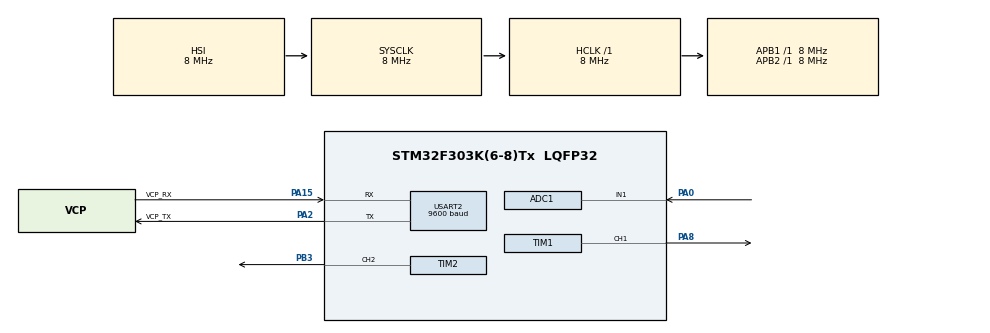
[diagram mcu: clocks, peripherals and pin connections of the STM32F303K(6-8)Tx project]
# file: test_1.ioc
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ADC1.Channel-0\#ChannelRegularConversion=ADC_CHANNEL_1
ADC1.ClockPrescaler=ADC_CLOCK_SYNC_PCLK_DIV1
ADC1.NbrOfConversionFlag=1
ADC1.Offset-0\#ChannelRegularConversion=0
ADC1.OffsetNumber-0\#ChannelRegularConversion=ADC_OFFSET_NONE
ADC1.Rank-0\#ChannelRegularConversion=1
ADC1.SamplingTime-0\#ChannelRegularConversion=ADC_SAMPLETIME_1CYCLE_5
ADC1.SubFamily=STM32F303x8
ADC1.master=1
Mcu.Family=STM32F3
Mcu.Name=STM32F303K(6-8)Tx
Mcu.Package=LQFP32
NVIC.PriorityGroup=NVIC_PRIORITYGROUP_4
PA0.Mode=IN1-Single-Ended
PA0.Signal=ADC1_IN1
PA13.GPIO_Label=SWDIO
PA13.Mode=Serial_Wire
PA13.Signal=SYS_JTMS-SWDIO
PA14.GPIO_Label=SWCLK
PA14.Mode=Serial_Wire
PA14.Signal=SYS_JTCK-SWCLK
PA15.GPIO_Label=VCP_RX
PA15.Mode=Asynchronous
PA15.Signal=USART2_RX
PA2.GPIO_Label=VCP_TX
PA2.Mode=Asynchronous
PA2.Signal=USART2_TX
PA8.Signal=S_TIM1_CH1
PB3.Signal=S_TIM2_CH2
PF0\ /\ OSC_IN.GPIO_Label=MCO
PF0\ /\ OSC_IN.Mode=HSE-External-Clock-Source
PF0\ /\ OSC_IN.Signal=RCC_OSC_IN
ProjectManager.HeapSize=0x200
ProjectManager.StackSize=0x400
ProjectManager.TargetToolchain=SW4STM32
RCC.AHBFreq_Value=8000000
RCC.APB1Freq_Value=8000000
RCC.APB2Freq_Value=8000000
RCC.CortexFreq_Value=8000000
RCC.HSE_VALUE=8000000
RCC.HSI_VALUE=8000000
RCC.SYSCLKFreq_VALUE=8000000
SH.S_TIM1_CH1.0=TIM1_CH1,PWM Generation1 CH1
SH.S_TIM2_CH2.0=TIM2_CH2,PWM Generation2 CH2
TIM1.Channel-PWM\ Generation1\ CH1=TIM_CHANNEL_1
TIM1.Period=255
TIM1.Prescaler=624
TIM2.Channel-PWM\ Generation2\ CH2=TIM_CHANNEL_2
TIM2.Period=255
TIM2.Prescaler=625
USART2.BaudRate=9600
USART2.VirtualMode-Asynchronous=VM_ASYNC
VP_TIM1_VS_ClockSourceINT.Mode=Internal
VP_TIM2_VS_ClockSourceINT.Mode=Internal
board=NUCLEO-F303K8

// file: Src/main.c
/* USER CODE BEGIN Header */
/**
  ******************************************************************************
  * @file           : main.c
  * @brief          : Main program body
  ******************************************************************************
  * @attention
  *
  * <h2><center>&copy; Copyright (c) 2019 STMicroelectronics.
  * All rights reserved.</center></h2>
  *
  * This software component is licensed by ST under BSD 3-Clause license,
  * the "License"; You may not use this file except in compliance with the
  * License. You may obtain a copy of the License at:
  *                        opensource.org/licenses/BSD-3-Clause
  *
  ******************************************************************************
  */
/* USER CODE END Header */

#include "main.h"

ADC_HandleTypeDef hadc1;

TIM_HandleTypeDef htim1;
TIM_HandleTypeDef htim2;

UART_HandleTypeDef huart2;

void SystemClock_Config(void);
static void MX_GPIO_Init(void);
static void MX_USART2_UART_Init(void);
static void MX_TIM2_Init(void);
static void MX_ADC1_Init(void);
static void MX_TIM1_Init(void);

int main(void)
{

  /* MCU Configuration--------------------------------------------------------*/

  /* Reset of all peripherals, Initializes the Flash interface and the Systick. */
  HAL_Init();

  /* Configure the system clock */
  SystemClock_Config();

  /* Initialize all configured peripherals */
  MX_GPIO_Init();
  MX_USART2_UART_Init();
  MX_TIM2_Init();
  MX_ADC1_Init();
  MX_TIM1_Init();
  /* USER CODE BEGIN 2 */
  char txbuf[30]={0};
  uint16_t value=0;

  HAL_TIM_PWM_Start(&htim1,TIM_CHANNEL_1);
  /* USER CODE END 2 */

  /* Infinite loop */
  while (1)
  {

    /* USER CODE BEGIN 3 */

     short duty;
     int sw=1,set=1;
     while(1){
     HAL_ADC_Start(&hadc1);
     if(HAL_ADC_PollForConversion(&hadc1,1000)==HAL_OK){
	   value=HAL_ADC_GetValue(&hadc1);
	  }
	  HAL_ADC_Stop(&hadc1);
	  sprintf(txbuf,"value:%d sw:%d set:%d \r\n",value,sw,set);
	  HAL_UART_Transmit(&huart2,(uint8_t*)txbuf,sizeof(txbuf),0xFFFF);
	  HAL_Delay(10);

	  if(sw==1){
	       duty=27;
	      __HAL_TIM_SET_COMPARE(&htim1,TIM_CHANNEL_1,duty);
	       HAL_Delay(5);

	 	  }
	  if(sw==2){
           duty=30;
	        __HAL_TIM_SET_COMPARE(&htim1,TIM_CHANNEL_1,duty);
	         HAL_Delay(5);

	  }
	  if(sw==3){
		            duty=15;
		 	        __HAL_TIM_SET_COMPARE(&htim1,TIM_CHANNEL_1,duty);
		 	         HAL_Delay(5);

	  }
	  if(value<2000&&set==1){
		  sw++;
		  set++;

	  }
	  if(value>2000&&set==2){
		  set=1;
	  }
	  if(sw>3){
		  sw=1;
	  }
	  }

  }

	/*  for(uint8_t duty=10;duty<30;duty+=20){
		  __HAL_TIM_SET_COMPARE(&htim1,TIM_CHANNEL_1,duty);
		  HAL_Delay(1000);
	  }
	  for(uint8_t duty=30;duty>10;duty-=20){
		  __HAL_TIM_SET_COMPARE(&htim1,TIM_CHANNEL_1,duty);
		  HAL_Delay(1000);
	  }*\

	  /*HAL_ADC_Start(&hadc1);
      if(HAL_ADC_PollForConversion(&hadc1,1000)==HAL_OK){
	   value=HAL_ADC_GetValue(&hadc1);
	  }
	  HAL_ADC_Stop(&hadc1);
	  sprintf(txbuf,"value:%d\r\n",value);
	  HAL_UART_Transmit(&huart2,(uint8_t*)txbuf,sizeof(txbuf),0xFFFF);
	  HAL_Delay(10);

	  if(value>3000){
		  break;

	  }*\

  /* USER CODE END 3 */
}

void SystemClock_Config(void)
{
  RCC_OscInitTypeDef RCC_OscInitStruct = {0};
  RCC_ClkInitTypeDef RCC_ClkInitStruct = {0};
  RCC_PeriphCLKInitTypeDef PeriphClkInit = {0};

  /** Initializes the CPU, AHB and APB busses clocks
  */
  RCC_OscInitStruct.OscillatorType = RCC_OSCILLATORTYPE_HSI;
  RCC_OscInitStruct.HSIState = RCC_HSI_ON;
  RCC_OscInitStruct.HSICalibrationValue = RCC_HSICALIBRATION_DEFAULT;
  RCC_OscInitStruct.PLL.PLLState = RCC_PLL_NONE;
  if (HAL_RCC_OscConfig(&RCC_OscInitStruct) != HAL_OK)
  {
    Error_Handler();
  }
  /** Initializes the CPU, AHB and APB busses clocks
  */
  RCC_ClkInitStruct.ClockType = RCC_CLOCKTYPE_HCLK|RCC_CLOCKTYPE_SYSCLK
                              |RCC_CLOCKTYPE_PCLK1|RCC_CLOCKTYPE_PCLK2;
  RCC_ClkInitStruct.SYSCLKSource = RCC_SYSCLKSOURCE_HSI;
  RCC_ClkInitStruct.AHBCLKDivider = RCC_SYSCLK_DIV1;
  RCC_ClkInitStruct.APB1CLKDivider = RCC_HCLK_DIV1;
  RCC_ClkInitStruct.APB2CLKDivider = RCC_HCLK_DIV1;

  if (HAL_RCC_ClockConfig(&RCC_ClkInitStruct, FLASH_LATENCY_0) != HAL_OK)
  {
    Error_Handler();
  }
  PeriphClkInit.PeriphClockSelection = RCC_PERIPHCLK_TIM1;
  PeriphClkInit.Tim1ClockSelection = RCC_TIM1CLK_HCLK;
  if (HAL_RCCEx_PeriphCLKConfig(&PeriphClkInit) != HAL_OK)
  {
    Error_Handler();
  }
}

static void MX_ADC1_Init(void)
{

  ADC_MultiModeTypeDef multimode = {0};
  ADC_ChannelConfTypeDef sConfig = {0};

  /** Common config
  */
  hadc1.Instance = ADC1;
  hadc1.Init.ClockPrescaler = ADC_CLOCK_SYNC_PCLK_DIV1;
  hadc1.Init.Resolution = ADC_RESOLUTION_12B;
  hadc1.Init.ScanConvMode = ADC_SCAN_DISABLE;
  hadc1.Init.ContinuousConvMode = DISABLE;
  hadc1.Init.DiscontinuousConvMode = DISABLE;
  hadc1.Init.ExternalTrigConvEdge = ADC_EXTERNALTRIGCONVEDGE_NONE;
  hadc1.Init.ExternalTrigConv = ADC_SOFTWARE_START;
  hadc1.Init.DataAlign = ADC_DATAALIGN_RIGHT;
  hadc1.Init.NbrOfConversion = 1;
  hadc1.Init.DMAContinuousRequests = DISABLE;
  hadc1.Init.EOCSelection = ADC_EOC_SINGLE_CONV;
  hadc1.Init.LowPowerAutoWait = DISABLE;
  hadc1.Init.Overrun = ADC_OVR_DATA_OVERWRITTEN;
  if (HAL_ADC_Init(&hadc1) != HAL_OK)
  {
    Error_Handler();
  }
  /** Configure the ADC multi-mode
  */
  multimode.Mode = ADC_MODE_INDEPENDENT;
  if (HAL_ADCEx_MultiModeConfigChannel(&hadc1, &multimode) != HAL_OK)
  {
    Error_Handler();
  }
  /** Configure Regular Channel
  */
  sConfig.Channel = ADC_CHANNEL_1;
  sConfig.Rank = ADC_REGULAR_RANK_1;
  sConfig.SingleDiff = ADC_SINGLE_ENDED;
  sConfig.SamplingTime = ADC_SAMPLETIME_1CYCLE_5;
  sConfig.OffsetNumber = ADC_OFFSET_NONE;
  sConfig.Offset = 0;
  if (HAL_ADC_ConfigChannel(&hadc1, &sConfig) != HAL_OK)
  {
    Error_Handler();
  }

}

static void MX_TIM1_Init(void)
{

  TIM_ClockConfigTypeDef sClockSourceConfig = {0};
  TIM_MasterConfigTypeDef sMasterConfig = {0};
  TIM_OC_InitTypeDef sConfigOC = {0};
  TIM_BreakDeadTimeConfigTypeDef sBreakDeadTimeConfig = {0};

  htim1.Instance = TIM1;
  htim1.Init.Prescaler = 624;
  htim1.Init.CounterMode = TIM_COUNTERMODE_UP;
  htim1.Init.Period = 255;
  htim1.Init.ClockDivision = TIM_CLOCKDIVISION_DIV1;
  htim1.Init.RepetitionCounter = 0;
  htim1.Init.AutoReloadPreload = TIM_AUTORELOAD_PRELOAD_DISABLE;
  if (HAL_TIM_Base_Init(&htim1) != HAL_OK)
  {
    Error_Handler();
  }
  sClockSourceConfig.ClockSource = TIM_CLOCKSOURCE_INTERNAL;
  if (HAL_TIM_ConfigClockSource(&htim1, &sClockSourceConfig) != HAL_OK)
  {
    Error_Handler();
  }
  if (HAL_TIM_PWM_Init(&htim1) != HAL_OK)
  {
    Error_Handler();
  }
  sMasterConfig.MasterOutputTrigger = TIM_TRGO_RESET;
  sMasterConfig.MasterOutputTrigger2 = TIM_TRGO2_RESET;
  sMasterConfig.MasterSlaveMode = TIM_MASTERSLAVEMODE_DISABLE;
  if (HAL_TIMEx_MasterConfigSynchronization(&htim1, &sMasterConfig) != HAL_OK)
  {
    Error_Handler();
  }
  sConfigOC.OCMode = TIM_OCMODE_PWM1;
  sConfigOC.Pulse = 0;
  sConfigOC.OCPolarity = TIM_OCPOLARITY_HIGH;
  sConfigOC.OCNPolarity = TIM_OCNPOLARITY_HIGH;
  sConfigOC.OCFastMode = TIM_OCFAST_DISABLE;
  sConfigOC.OCIdleState = TIM_OCIDLESTATE_RESET;
  sConfigOC.OCNIdleState = TIM_OCNIDLESTATE_RESET;
  if (HAL_TIM_PWM_ConfigChannel(&htim1, &sConfigOC, TIM_CHANNEL_1) != HAL_OK)
  {
    Error_Handler();
  }
  sBreakDeadTimeConfig.OffStateRunMode = TIM_OSSR_DISABLE;
  sBreakDeadTimeConfig.OffStateIDLEMode = TIM_OSSI_DISABLE;
  sBreakDeadTimeConfig.LockLevel = TIM_LOCKLEVEL_OFF;
  sBreakDeadTimeConfig.DeadTime = 0;
  sBreakDeadTimeConfig.BreakState = TIM_BREAK_DISABLE;
  sBreakDeadTimeConfig.BreakPolarity = TIM_BREAKPOLARITY_HIGH;
  sBreakDeadTimeConfig.BreakFilter = 0;
  sBreakDeadTimeConfig.Break2State = TIM_BREAK2_DISABLE;
  sBreakDeadTimeConfig.Break2Polarity = TIM_BREAK2POLARITY_HIGH;
  sBreakDeadTimeConfig.Break2Filter = 0;
  sBreakDeadTimeConfig.AutomaticOutput = TIM_AUTOMATICOUTPUT_DISABLE;
  if (HAL_TIMEx_ConfigBreakDeadTime(&htim1, &sBreakDeadTimeConfig) != HAL_OK)
  {
    Error_Handler();
  }
  HAL_TIM_MspPostInit(&htim1);

}

static void MX_TIM2_Init(void)
{

  TIM_ClockConfigTypeDef sClockSourceConfig = {0};
  TIM_MasterConfigTypeDef sMasterConfig = {0};
  TIM_OC_InitTypeDef sConfigOC = {0};

  htim2.Instance = TIM2;
  htim2.Init.Prescaler = 625;
  htim2.Init.CounterMode = TIM_COUNTERMODE_UP;
  htim2.Init.Period = 255;
  htim2.Init.ClockDivision = TIM_CLOCKDIVISION_DIV1;
  htim2.Init.AutoReloadPreload = TIM_AUTORELOAD_PRELOAD_DISABLE;
  if (HAL_TIM_Base_Init(&htim2) != HAL_OK)
  {
    Error_Handler();
  }
  sClockSourceConfig.ClockSource = TIM_CLOCKSOURCE_INTERNAL;
  if (HAL_TIM_ConfigClockSource(&htim2, &sClockSourceConfig) != HAL_OK)
  {
    Error_Handler();
  }
  if (HAL_TIM_PWM_Init(&htim2) != HAL_OK)
  {
    Error_Handler();
  }
  sMasterConfig.MasterOutputTrigger = TIM_TRGO_RESET;
  sMasterConfig.MasterSlaveMode = TIM_MASTERSLAVEMODE_DISABLE;
  if (HAL_TIMEx_MasterConfigSynchronization(&htim2, &sMasterConfig) != HAL_OK)
  {
    Error_Handler();
  }
  sConfigOC.OCMode = TIM_OCMODE_PWM1;
  sConfigOC.Pulse = 0;
  sConfigOC.OCPolarity = TIM_OCPOLARITY_HIGH;
  sConfigOC.OCFastMode = TIM_OCFAST_DISABLE;
  if (HAL_TIM_PWM_ConfigChannel(&htim2, &sConfigOC, TIM_CHANNEL_2) != HAL_OK)
  {
    Error_Handler();
  }
  HAL_TIM_MspPostInit(&htim2);

}

static void MX_USART2_UART_Init(void)
{

  huart2.Instance = USART2;
  huart2.Init.BaudRate = 9600;
  huart2.Init.WordLength = UART_WORDLENGTH_8B;
  huart2.Init.StopBits = UART_STOPBITS_1;
  huart2.Init.Parity = UART_PARITY_NONE;
  huart2.Init.Mode = UART_MODE_TX_RX;
  huart2.Init.HwFlowCtl = UART_HWCONTROL_NONE;
  huart2.Init.OverSampling = UART_OVERSAMPLING_16;
  huart2.Init.OneBitSampling = UART_ONE_BIT_SAMPLE_DISABLE;
  huart2.AdvancedInit.AdvFeatureInit = UART_ADVFEATURE_NO_INIT;
  if (HAL_UART_Init(&huart2) != HAL_OK)
  {
    Error_Handler();
  }

}

static void MX_GPIO_Init(void)
{

  /* GPIO Ports Clock Enable */
  __HAL_RCC_GPIOF_CLK_ENABLE();
  __HAL_RCC_GPIOA_CLK_ENABLE();
  __HAL_RCC_GPIOB_CLK_ENABLE();

}

void Error_Handler(void)
{
}

/************************ (C) COPYRIGHT STMicroelectronics *****END OF FILE****/
